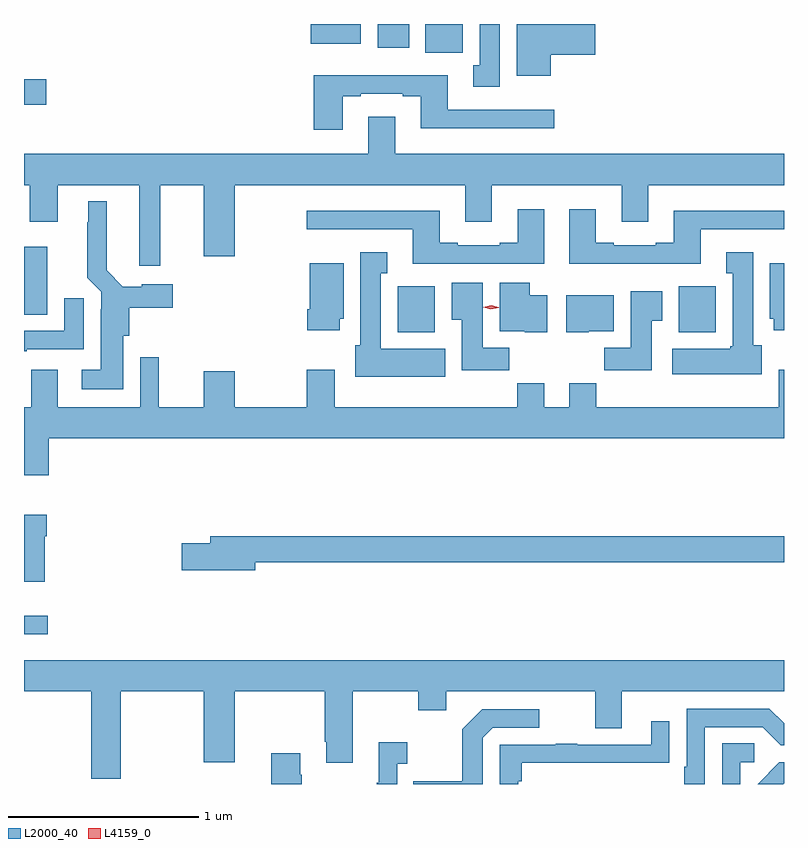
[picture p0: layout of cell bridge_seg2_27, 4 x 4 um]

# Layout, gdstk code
import gdstk
lib = gdstk.Library(unit=1e-6, precision=1e-09)
def R(c, l, rs):  # rectangles x0, y0, x1, y1
    for r in rs: c.add(gdstk.rectangle(r[:2], r[2:], *l))
def P(c, l, *ps):  # polygons
    for p in ps: c.add(gdstk.Polygon(p, *l))
L2000_40 = (2000, 40)
L4159_0 = (4159, 0)

bridge_seg2_27 = lib.new_cell('bridge_seg2_27')
R(bridge_seg2_27, L2000_40, [(823.402,602.648,823.528,602.745), (825.368,604.238,825.565,604.48), (826.847,604.238,827.044,604.48), (823.402,604.33,823.525,604.687), (823.402,605.435,823.519,605.57), (825.515,605.708,825.712,605.86), (825.263,605.736,825.43,605.86), (824.912,605.756,825.175,605.86)])
P(bridge_seg2_27, L2000_40, [(826.174,605.699),(826.409,605.699),(826.409,605.86),(825.995,605.86),(825.995,605.588),(826.174,605.588)],
  [(825.907,605.86),(825.8,605.86),(825.8,605.642),(825.767,605.642),(825.767,605.529),(825.907,605.529)],
  [(825.079,605.481),(825.175,605.481),(825.175,605.493),(825.395,605.493),(825.395,605.481),(825.491,605.481),(825.491,605.312),(826.192,605.312),(826.192,605.409),(825.631,605.409),(825.631,605.59),(824.927,605.59),(824.927,605.304),(825.079,605.304)],
  [(824.119,605.012),(824.348,605.012),(824.348,604.638),(824.512,604.638),(824.512,605.012),(825.725,605.012),(825.725,604.818),(825.865,604.818),(825.865,605.012),(826.547,605.012),(826.547,604.818),(826.687,604.818),(826.687,605.012),(827.402,605.012),(827.402,605.176),(825.355,605.176),(825.355,605.371),(825.215,605.371),(825.215,605.176),(823.402,605.176),(823.402,605.012),(823.432,605.012),(823.432,604.818),(823.579,604.818),(823.579,605.012),(824.009,605.012),(824.009,604.587),(824.119,604.587)],
  [(823.924,604.218),(823.955,604.218),(823.955,604.367),(824.185,604.367),(824.185,604.489),(824.022,604.489),(824.022,604.477),(823.923,604.477),(823.837,604.564),(823.837,604.927),(823.739,604.927),(823.739,604.817),(823.736,604.817),(823.736,604.525),(823.809,604.452),(823.809,604.358),(823.805,604.358),(823.805,604.039),(823.707,604.039),(823.707,603.938),(823.924,603.938)],
  [(826.141,604.885),(826.001,604.885),(826.001,604.708),(825.905,604.708),(825.905,604.695),(825.685,604.695),(825.685,604.708),(825.589,604.708),(825.589,604.876),(824.889,604.876),(824.889,604.779),(825.449,604.779),(825.449,604.599),(826.141,604.599)],
  [(826.963,604.779),(827.402,604.779),(827.402,604.876),(826.823,604.876),(826.823,604.708),(826.727,604.708),(826.727,604.695),(826.507,604.695),(826.507,604.708),(826.411,604.708),(826.411,604.885),(826.271,604.885),(826.271,604.598),(826.963,604.598)],
  [(825.619,604.15),(825.28,604.15),(825.28,604.547),(825.313,604.547),(825.313,604.66),(825.173,604.66),(825.173,604.17),(825.146,604.17),(825.146,604.004),(825.619,604.004)],
  [(827.284,604.17),(827.239,604.17),(827.239,604.66),(827.099,604.66),(827.099,604.547),(827.132,604.547),(827.132,604.164),(827.119,604.164),(827.119,604.15),(826.815,604.15),(826.815,604.016),(827.284,604.016)],
  [(827.402,604.6),(827.327,604.6),(827.327,604.308),(827.348,604.308),(827.348,604.248),(827.402,604.248)],
  [(825.064,604.308),(825.085,604.308),(825.085,604.6),(824.906,604.6),(824.906,604.36),(824.894,604.36),(824.894,604.248),(825.064,604.248)],
  [(825.956,604.156),(825.817,604.156),(825.817,604.498),(825.653,604.498),(825.653,604.304),(825.707,604.304),(825.707,604.038),(825.956,604.038)],
  [(826.156,604.432),(826.063,604.432),(826.063,604.498),(825.905,604.498),(825.905,604.244),(826.038,604.244),(826.038,604.238),(826.156,604.238)],
  [(826.705,604.297),(826.762,604.297),(826.762,604.453),(826.595,604.453),(826.595,604.156),(826.456,604.156),(826.456,604.038),(826.705,604.038)],
  [(826.374,604.244),(826.507,604.244),(826.507,604.432),(826.256,604.432),(826.256,604.238),(826.374,604.238)],
  [(823.417,604.149),(823.717,604.149),(823.717,604.417),(823.613,604.417),(823.613,604.245),(823.402,604.245),(823.402,604.137),(823.417,604.137)],
  [(823.532,603.68),(827.402,603.68),(827.402,604.039),(827.375,604.039),(827.375,603.844),(826.415,603.844),(826.415,603.968),(826.271,603.968),(826.271,603.844),(826.141,603.844),(826.141,603.968),(825.997,603.968),(825.997,603.844),(825.037,603.844),(825.037,604.039),(824.89,604.039),(824.89,603.844),(824.512,603.844),(824.512,604.033),(824.348,604.033),(824.348,603.844),(824.112,603.844),(824.112,604.105),(824.013,604.105),(824.013,603.844),(823.579,603.844),(823.579,604.039),(823.439,604.039),(823.439,603.844),(823.402,603.844),(823.402,603.486),(823.532,603.486)],
  [(823.51,603.164),(823.523,603.164),(823.523,603.277),(823.402,603.277),(823.402,602.924),(823.51,602.924)],
  [(824.62,603.028),(827.402,603.028),(827.402,603.164),(824.381,603.164),(824.381,603.128),(824.232,603.128),(824.232,602.986),(824.62,602.986)],
  [(823.911,602.348),(824.348,602.348),(824.348,601.974),(824.512,601.974),(824.512,602.348),(824.986,602.348),(824.986,602.083),(824.993,602.083),(824.993,601.971),(825.133,601.971),(825.133,602.348),(825.478,602.348),(825.478,602.249),(825.625,602.249),(825.625,602.348),(826.409,602.348),(826.409,602.154),(826.549,602.154),(826.549,602.348),(827.402,602.348),(827.402,602.512),(823.402,602.512),(823.402,602.348),(823.756,602.348),(823.756,601.887),(823.911,601.887)],
  [(826.986,602.16),(827.289,602.16),(827.385,602.064),(827.402,602.064),(827.402,602.179),(827.325,602.256),(826.89,602.256),(826.89,601.951),(826.877,601.951),(826.877,601.86),(826.986,601.86)],
  [(825.816,602.103),(825.87,602.157),(826.114,602.157),(826.114,602.253),(825.813,602.253),(825.708,602.147),(825.708,601.875),(825.451,601.875),(825.451,601.86),(825.816,601.86)],
  [(826.002,601.874),(826.022,601.874),(826.022,601.971),(826.697,601.971),(826.697,601.972),(826.799,601.972),(826.799,602.191),(826.703,602.191),(826.703,602.067),(826.313,602.067),(826.313,602.072),(826.201,602.072),(826.201,602.067),(825.906,602.067),(825.906,601.86),(826.002,601.86)],
  [(825.366,601.967),(825.418,601.967),(825.418,602.08),(825.269,602.08),(825.269,601.867),(825.258,601.867),(825.258,601.86),(825.366,601.86)],
  [(827.172,601.974),(827.245,601.974),(827.245,602.075),(827.076,602.075),(827.076,601.86),(827.172,601.86)],
  [(824.865,601.91),(824.857,601.91),(824.857,602.023),(824.702,602.023),(824.702,601.86),(824.865,601.86)],
  [(827.402,601.864),(827.402,601.974),(827.378,601.974),(827.264,601.86),(827.398,601.86)])
P(bridge_seg2_27, L4159_0, [(825.859,604.359),(825.819,604.37),(825.819,604.37),(825.819,604.37),(825.86,604.379),(825.901,604.368),(825.901,604.368),(825.901,604.367)])

lib.write_gds('bridge_seg2_27.gds')
